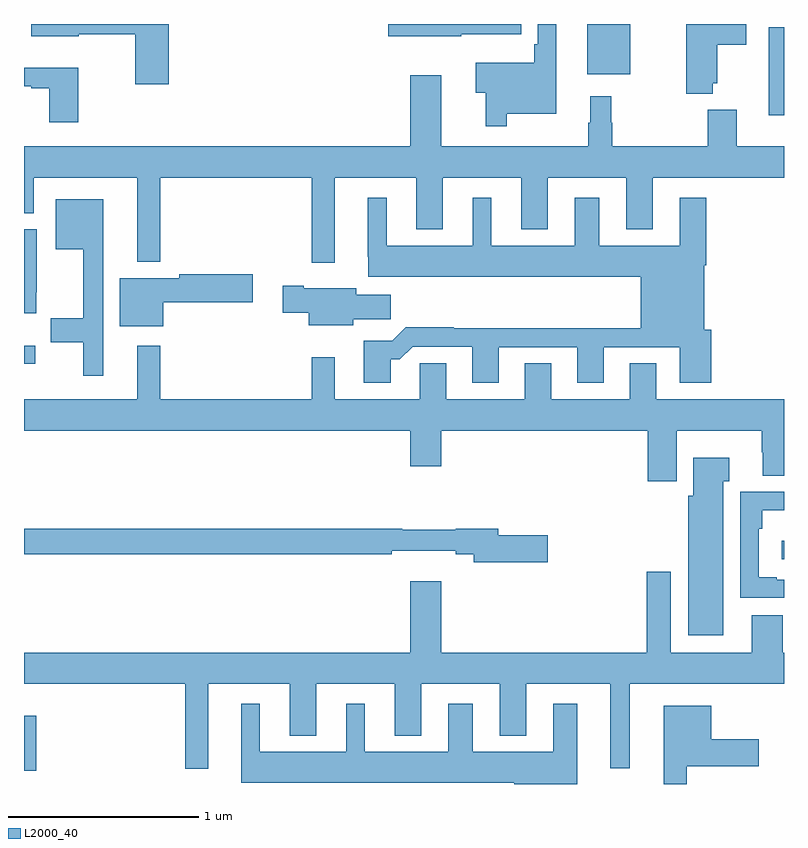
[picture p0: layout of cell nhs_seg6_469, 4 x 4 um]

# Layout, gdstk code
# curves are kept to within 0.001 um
import gdstk
lib = gdstk.Library(unit=1e-6, precision=1e-09)
def R(c, l, rs):  # rectangles x0, y0, x1, y1
    for r in rs: c.add(gdstk.rectangle(r[:2], r[2:], *l))
def P(c, l, *ps):  # polygons
    for p in ps: c.add(gdstk.Polygon(p, *l))
L2000_40 = (2000, 40)

nhs_seg6_469 = lib.new_cell('nhs_seg6_469')
R(nhs_seg6_469, L2000_40, [(139,921.569,139.064,921.859), (142.989,922.683,143,922.78), (139,923.712,139.058,923.807), (142.919,925.02,143,925.483), (141.965,925.235,142.192,925.5)])
P(nhs_seg6_469, L2000_40, [(141.541,925.028),(141.802,925.028),(141.802,925.5),(141.705,925.5),(141.705,925.393),(141.685,925.393),(141.685,925.297),(141.378,925.297),(141.378,925.139),(141.43,925.139),(141.43,924.963),(141.541,924.963)],
  [(142.626,925.187),(142.648,925.187),(142.648,925.39),(142.801,925.39),(142.801,925.5),(142.486,925.5),(142.486,925.133),(142.626,925.133)],
  [(139.763,925.5),(139.037,925.5),(139.037,925.436),(139.288,925.436),(139.288,925.447),(139.585,925.447),(139.585,925.182),(139.763,925.182)],
  [(141.3,925.445),(141.616,925.445),(141.616,925.5),(140.916,925.5),(140.916,925.436),(141.3,925.436)],
  [(139.286,925.27),(139,925.27),(139,925.173),(139.037,925.173),(139.037,925.161),(139.133,925.161),(139.133,924.984),(139.286,924.984)],
  [(142.598,925.048),(142.598,924.856),(142.097,924.856),(142.097,924.98),(142.09,924.98),(142.09,925.12),(141.98,925.12),(141.98,924.98),(141.969,924.98),(141.969,924.856),(141.196,924.856),(141.196,925.231),(141.032,925.231),(141.032,924.856),(139,924.856),(139,924.505),(139.051,924.505),(139.051,924.692),(139.595,924.692),(139.595,924.248),(139.717,924.248),(139.717,924.692),(140.514,924.692),(140.514,924.243),(140.635,924.243),(140.635,924.692),(141.065,924.692),(141.065,924.419),(141.205,924.419),(141.205,924.692),(141.617,924.692),(141.617,924.419),(141.757,924.419),(141.757,924.692),(142.169,924.692),(142.169,924.419),(142.309,924.419),(142.309,924.692),(143,924.692),(143,924.856),(142.75,924.856),(142.75,925.048)],
  [(140.929,923.735),(140.978,923.735),(141.045,923.802),(141.359,923.802),(141.359,923.613),(141.499,923.613),(141.499,923.799),(141.911,923.799),(141.911,923.613),(142.051,923.613),(142.051,923.799),(142.451,923.799),(142.451,923.613),(142.616,923.613),(142.616,923.892),(142.579,923.892),(142.579,924.23),(142.592,924.23),(142.592,924.586),(142.451,924.586),(142.451,924.334),(142.027,924.334),(142.027,924.586),(141.899,924.586),(141.899,924.334),(141.46,924.334),(141.46,924.586),(141.362,924.586),(141.362,924.334),(140.908,924.334),(140.908,924.586),(140.81,924.586),(140.811,924.17),(142.247,924.17),(142.247,923.9),(141.263,923.9),(141.263,923.903),(141.008,923.903),(140.938,923.833),(140.789,923.833),(140.789,923.613),(140.929,923.613)],
  [(139.417,924.577),(139.166,924.577),(139.166,924.314),(139.313,924.314),(139.313,923.952),(139.141,923.952),(139.141,923.824),(139.313,923.824),(139.313,923.649),(139.417,923.649)],
  [(139.064,924.088),(139.066,924.088),(139.066,924.42),(139,924.42),(139,923.977),(139.064,923.977)],
  [(139.732,924.035),(140.203,924.035),(140.203,924.182),(139.818,924.182),(139.818,924.163),(139.505,924.163),(139.505,923.909),(139.732,923.909)],
  [(140.734,923.947),(140.929,923.947),(140.929,924.076),(140.749,924.076),(140.749,924.109),(140.473,924.109),(140.473,924.122),(140.361,924.122),(140.361,923.98),(140.498,923.98),(140.498,923.915),(140.734,923.915)],
  [(142.435,923.36),(142.882,923.36),(142.882,923.247),(142.889,923.247),(142.889,923.122),(143,923.122),(143,923.524),(142.327,923.524),(142.327,923.714),(142.187,923.714),(142.187,923.524),(141.775,923.524),(141.775,923.714),(141.635,923.714),(141.635,923.524),(141.223,923.524),(141.223,923.714),(141.084,923.714),(141.084,923.524),(140.635,923.524),(140.635,923.746),(140.514,923.746),(140.514,923.524),(139.717,923.524),(139.717,923.806),(139.595,923.806),(139.595,923.524),(139,923.524),(139,923.36),(141.032,923.36),(141.032,923.172),(141.196,923.172),(141.196,923.36),(142.283,923.36),(142.283,923.094),(142.435,923.094)],
  [(142.681,923.093),(142.711,923.093),(142.711,923.218),(142.523,923.218),(142.523,923.016),(142.496,923.016),(142.496,922.283),(142.681,922.283)],
  [(143,922.575),(142.963,922.575),(142.963,922.588),(142.866,922.588),(142.866,922.844),(142.886,922.844),(142.886,922.94),(143,922.94),(143,923.037),(142.77,923.037),(142.77,922.479),(143,922.479)],
  [(141.757,922.808),(141.496,922.808),(141.496,922.844),(141.272,922.844),(141.272,922.837),(140.992,922.837),(140.992,922.844),(139,922.844),(139,922.708),(140.936,922.708),(140.936,922.727),(141.272,922.727),(141.272,922.708),(141.368,922.708),(141.368,922.666),(141.757,922.666)],
  [(139.969,922.028),(140.399,922.028),(140.399,921.755),(140.539,921.755),(140.539,922.028),(140.951,922.028),(140.951,921.755),(141.091,921.755),(141.091,922.028),(141.503,922.028),(141.503,921.755),(141.643,921.755),(141.643,922.028),(142.085,922.028),(142.085,921.584),(142.189,921.584),(142.189,922.028),(143,922.028),(143,922.192),(142.993,922.192),(142.993,922.387),(142.829,922.387),(142.829,922.192),(142.405,922.192),(142.405,922.618),(142.277,922.618),(142.277,922.192),(141.196,922.192),(141.196,922.567),(141.032,922.567),(141.032,922.192),(139,922.192),(139,922.028),(139.848,922.028),(139.848,921.579),(139.969,921.579)],
  [(141.913,921.922),(141.785,921.922),(141.785,921.67),(141.361,921.67),(141.361,921.922),(141.233,921.922),(141.233,921.67),(140.794,921.67),(140.794,921.922),(140.696,921.922),(140.696,921.67),(140.242,921.67),(140.242,921.922),(140.144,921.922),(140.144,921.506),(141.581,921.506),(141.581,921.5),(141.913,921.5)],
  [(142.489,921.593),(142.867,921.593),(142.867,921.735),(142.618,921.735),(142.618,921.913),(142.367,921.913),(142.367,921.5),(142.489,921.5)])

lib.write_gds('nhs_seg6_469.gds')
